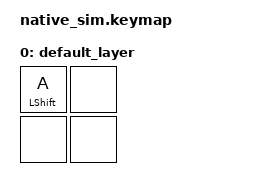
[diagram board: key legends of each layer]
#include <behaviors.dtsi>
#include <dt-bindings/zmk/keys.h>
#include <dt-bindings/zmk/kscan_mock.h>

/ {
    keymap {
        compatible = "zmk,keymap";

        default_layer {
            bindings = <
                &mt LSHFT A &none
                &none &none
            >;
        };
    };
};

&kscan {
    /delete-property/ exit-after;
    events = <
        ZMK_MOCK_PRESS(0,0,300)
        ZMK_MOCK_RELEASE(0,0,50)
    >;
};
